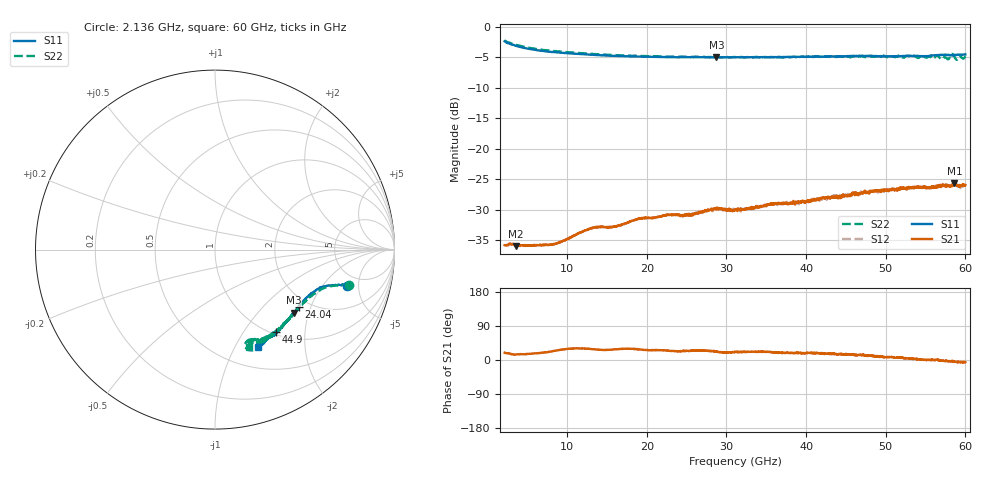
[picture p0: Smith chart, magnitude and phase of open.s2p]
!Correction: S11(Full 2 Port(1,2))
!S21(Full 2 Port(1,2))
!S12(Full 2 Port(1,2))
!S22(Full 2 Port(1,2))
!S2P File: Measurements: S11, S21, S12, S22:
# Hz S  RI  R 50
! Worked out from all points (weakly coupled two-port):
!   1557 points, 2.136 GHz to 60 GHz, reference 50 ohm
!   highest |S21| = -25.65 dB at 58.62 GHz (marker M1); lowest = -36.0 dB at 3.549 GHz (marker M2)
!   lowest |S11| = -5.0 dB at 28.73 GHz (marker M3), VSWR 3.56, Z = 77.9 - j80 ohm
!   |S11| at or under -10 dB: nowhere
!   |S22| runs from -5.4 to -2.2 dB; largest |S21 - S12| = 0.0038
!   S11 on the Smith chart (normalised r, x): 2.136 GHz: 3.80, -3.63; 24.04 GHz: 1.77, -1.65; 44.9 GHz: 1.05, -1.43; 60 GHz: 0.75, -1.25
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2.13625e9  0.7349 -0.2005  0.0152 0.00533  0.0152 0.00513  0.748 -0.1988
3.549375e9  0.6717 -0.1959  0.0154 0.00397  0.0155 0.00395  0.6851 -0.197
8.123438e9  0.5849 -0.2112  0.0151 0.00632  0.015 0.00639  0.5961 -0.2175
1.1805e10  0.5481 -0.237  0.0177 0.0105  0.0178 0.0106  0.5563 -0.2457
1.604438e10  0.5145 -0.2635  0.0203 0.0109  0.0203 0.011  0.5194 -0.2718
1.909375e10  0.4949 -0.2845  0.0238 0.0125  0.0236 0.0124  0.4972 -0.2934
2.143656e10  0.4809 -0.3001  0.0248 0.0121  0.0248 0.012  0.4833 -0.3091
2.403969e10  0.4674 -0.3172  0.0261 0.0111  0.0263 0.0111  0.466 -0.326
2.872531e10  0.4378 -0.3516  0.0294 0.0126  0.0296 0.0118  0.4361 -0.3585
3.106812e10  0.4264 -0.3658  0.0292 0.0109  0.0295 0.0113  0.4259 -0.3731
4.073688e10  0.3698 -0.4336  0.036 0.0121  0.0358 0.0122  0.3615 -0.4342
4.490188e10  0.3425 -0.4585  0.0395 0.01  0.0405 0.0101  0.3293 -0.4682
5.036844e10  0.2991 -0.4883  0.0448 0.00552  0.0463 0.0062  0.2767 -0.4899
5.423594e10  0.2733 -0.5071  0.0476 0.0018  0.048 0.001  0.2339 -0.5125
5.479375e10  0.2721 -0.5043  0.0485 0.000209  0.0483 4.45e-05  0.2582 -0.51
5.605812e10  0.2743 -0.5165  0.0491 -0.000185  0.0486 -0.000252  0.2098 -0.5118
5.661594e10  0.269 -0.5206  0.0494 0.000461  0.0486 -0.000714  0.2505 -0.5183
5.795469e10  0.2536 -0.5302  0.0494 -0.00325  0.0492 -0.00541  0.1655 -0.5259
5.828938e10  0.2503 -0.5301  0.0498 -0.00185  0.0497 -0.00479  0.2028 -0.5608
5.862406e10  0.2517 -0.5317  0.052 -0.00396  0.0501 -0.00612  0.2379 -0.5188
5.907031e10  0.2508 -0.5357  0.0498 -0.00592  0.0482 -0.00487  0.1742 -0.5183
6e10  0.2417 -0.542  0.0502 -0.00491  0.0496 -0.0042  0.1876 -0.5416
